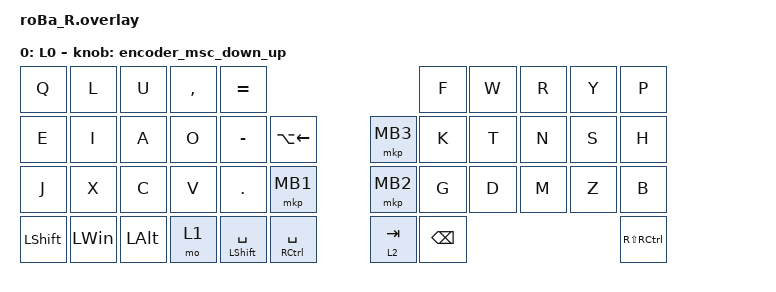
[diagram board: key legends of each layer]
#include "roBa.dtsi"

&default_transform {
    col-offset = <6>;
};

&kscan0 {
        col-gpios
            = <&xiao_d 10 GPIO_ACTIVE_HIGH>
            , <&xiao_d 9 GPIO_ACTIVE_HIGH> 
            , <&xiao_d 8 GPIO_ACTIVE_HIGH> 
            , <&xiao_d 7 GPIO_ACTIVE_HIGH> 
            , <&gpio0 10 GPIO_ACTIVE_HIGH>
            ;
};

/ {
    trackball_listener {
        compatible = "zmk,input-listener";
        device = <&trackball>;

    };
};

&pinctrl {
    spi0_default: spi0_default {
        group1 {
            psels = <NRF_PSEL(SPIM_SCK, 0, 5)>,
                <NRF_PSEL(SPIM_MOSI, 0, 4)>,
                <NRF_PSEL(SPIM_MISO, 0, 4)>;
        };
    };

    spi0_sleep: spi0_sleep {
        group1 {
            psels = <NRF_PSEL(SPIM_SCK, 0, 5)>,
                <NRF_PSEL(SPIM_MOSI, 0, 4)>,
                <NRF_PSEL(SPIM_MISO, 0, 4)>;
            low-power-enable;
        };
    };
};

&xiao_serial { status = "disabled"; };

&spi0 {
    status = "okay";
    compatible = "nordic,nrf-spim";
    pinctrl-0 = <&spi0_default>;
    pinctrl-1 = <&spi0_sleep>;
    pinctrl-names = "default", "sleep";
    cs-gpios = <&gpio0 9 GPIO_ACTIVE_LOW>;

    trackball: trackball@0 {
        status = "okay";
        compatible = "pixart,pmw3610";
        reg = <0>;
        spi-max-frequency = <2000000>;
        irq-gpios = <&gpio0 2 (GPIO_ACTIVE_LOW | GPIO_PULL_UP)>;
        automouse-layer = <4>;
        scroll-layers = <5>;
    };
};

// #includeのあとのあたりにスクロール量変更の定義を追記

#define ZMK_POINTING_DEFAULT_SCRL_VAL 80

// combosやmacrosと同じ階層に以下のbihaviorsを追記
// スクロール方向を逆にしたい場合は <&msc SCRL_DOWN> と <&msc SCRL_UP> を入れ替えてください

    behaviors {
        encoder_msc_down_up: encoder_msc_down_up {
            compatible = "zmk,behavior-sensor-rotate";
            label = "ENCODER_MSC_DOWN_UP";
            #sensor-binding-cells = <0>;
            bindings = <&msc SCRL_DOWN>, <&msc SCRL_UP>;
            tap-ms = <20>;
        };

// 設定したいレイヤーに sensor-bindings = <&encoder_msc_down_up>; を追記
// 以下は実際にレイヤー０に追記した例

    keymap {
        compatible = "zmk,keymap";

            L0 {
                    bindings = <
&kp Q           &kp L         &kp U         &kp COMMA  &kp EQUAL                                                     &kp F          &kp W  &kp R  &kp Y  &kp P
&kp E           &kp I         &kp A         &kp O      &kp MINUS             &kp LA(LEFT)                 &mkp MB3   &kp K          &kp T  &kp N  &kp S  &kp H
&kp J           &kp X         &kp C         &kp V      &kp PERIOD            &mkp MB1                     &mkp MB2   &kp G          &kp D  &kp M  &kp Z  &kp B
&kp LEFT_SHIFT  &kp LEFT_WIN  &kp LEFT_ALT  &mo 1      &mt LEFT_SHIFT SPACE  &mt RIGHT_CONTROL SPACE      &lt 2 TAB  &kp BACKSPACE                       &kp RS(RIGHT_CONTROL)
                    >;

                    sensor-bindings = <&encoder_msc_down_up>;
            };
    };
